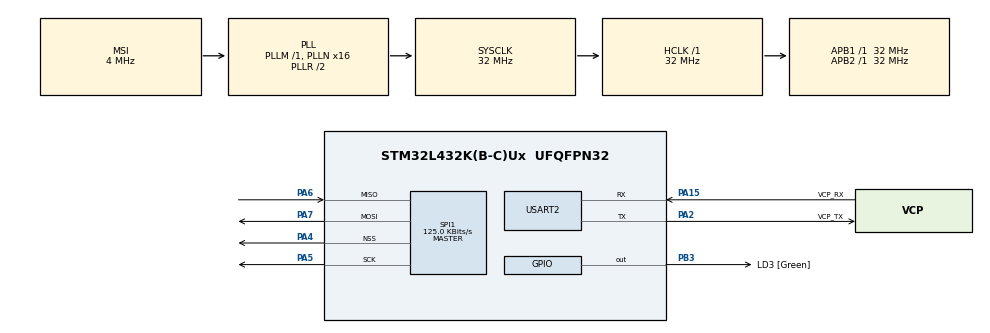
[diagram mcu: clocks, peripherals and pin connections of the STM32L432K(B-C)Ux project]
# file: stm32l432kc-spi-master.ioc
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Mcu.Family=STM32L4
Mcu.Name=STM32L432K(B-C)Ux
Mcu.Package=UFQFPN32
NVIC.PriorityGroup=NVIC_PRIORITYGROUP_4
PA0.GPIO_Label=MCO [High speed clock in]
PA0.Mode=HSE-External-Clock-Source-for-LittleOrca
PA0.Signal=RCC_CK_IN
PA13\ (JTMS-SWDIO).GPIO_Label=SWDIO
PA13\ (JTMS-SWDIO).Mode=Serial_Wire
PA13\ (JTMS-SWDIO).Signal=SYS_JTMS-SWDIO
PA14\ (JTCK-SWCLK).GPIO_Label=SWCLK
PA14\ (JTCK-SWCLK).Mode=Serial_Wire
PA14\ (JTCK-SWCLK).Signal=SYS_JTCK-SWCLK
PA15\ (JTDI).GPIO_Label=VCP_RX
PA15\ (JTDI).Mode=Asynchronous
PA15\ (JTDI).Signal=USART2_RX
PA2.GPIO_Label=VCP_TX
PA2.Mode=Asynchronous
PA2.Signal=USART2_TX
PA4.Mode=NSS_Signal_Hard_Output
PA4.Signal=SPI1_NSS
PA5.Mode=Full_Duplex_Master
PA5.Signal=SPI1_SCK
PA6.Mode=Full_Duplex_Master
PA6.Signal=SPI1_MISO
PA7.Mode=Full_Duplex_Master
PA7.Signal=SPI1_MOSI
PB3\ (JTDO-TRACESWO).GPIO_Label=LD3 [Green]
PB3\ (JTDO-TRACESWO).Signal=GPIO_Output
PC14-OSC32_IN\ (PC14).Mode=LSE-External-Oscillator
PC14-OSC32_IN\ (PC14).Signal=RCC_OSC32_IN
PC15-OSC32_OUT\ (PC15).Mode=LSE-External-Oscillator
PC15-OSC32_OUT\ (PC15).Signal=RCC_OSC32_OUT
ProjectManager.HeapSize=0x200
ProjectManager.StackSize=0x400
ProjectManager.TargetToolchain=STM32CubeIDE
RCC.AHBFreq_Value=32000000
RCC.APB1Freq_Value=32000000
RCC.APB1TimFreq_Value=32000000
RCC.APB2Freq_Value=32000000
RCC.APB2TimFreq_Value=32000000
RCC.CortexFreq_Value=32000000
RCC.HCLKFreq_Value=32000000
RCC.HSE_VALUE=8000000
RCC.HSI16_VALUE=16000000
RCC.HSI48_VALUE=48000000
RCC.HSI_VALUE=16000000
RCC.MSI_VALUE=4000000
RCC.PLLMUL=RCC_PLLMUL_4
RCC.PLLN=16
RCC.SYSCLKFreq_VALUE=32000000
RCC.SYSCLKSource=RCC_SYSCLKSOURCE_PLLCLK
RCC.VCOOutputFreq_Value=64000000
SPI1.BaudRatePrescaler=SPI_BAUDRATEPRESCALER_256
SPI1.CalculateBaudRate=125.0 KBits/s
SPI1.DataSize=SPI_DATASIZE_8BIT
SPI1.Direction=SPI_DIRECTION_2LINES
SPI1.Mode=SPI_MODE_MASTER
SPI1.NSSPMode=SPI_NSS_PULSE_ENABLE
SPI1.VirtualNSS=VM_NSSHARD
SPI1.VirtualType=VM_MASTER
USART2.VirtualMode-Asynchronous=VM_ASYNC
board=NUCLEO-L432KC

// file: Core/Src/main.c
/* USER CODE BEGIN Header */
/**
  ******************************************************************************
  * @file           : main.c
  * @brief          : Main program body
  ******************************************************************************
  * @attention
  *
  * Copyright (c) 2026 STMicroelectronics.
  * All rights reserved.
  *
  * This software is licensed under terms that can be found in the LICENSE file
  * in the root directory of this software component.
  * If no LICENSE file comes with this software, it is provided AS-IS.
  *
  ******************************************************************************
  */
/* USER CODE END Header */
#include "main.h"

/* USER CODE BEGIN Includes */
#include <string.h>
#include <stdio.h>
/* USER CODE END Includes */

SPI_HandleTypeDef hspi1;

UART_HandleTypeDef huart2;

/* USER CODE BEGIN PV */

#define BUFFER_SIZE 8
uint8_t txData[BUFFER_SIZE] = {'r', 'e', 'q', 'u', 'e', 's', 't', '!'};
uint8_t rxData[BUFFER_SIZE+1]; // Provide one additional byte for null termination
int msgCount = 0;
char msg[128];

/* USER CODE END PV */

void SystemClock_Config(void);
static void MX_GPIO_Init(void);
static void MX_SPI1_Init(void);
static void MX_USART2_UART_Init(void);

/* USER CODE BEGIN 0 */

// Called if an error occurs during transfer
void HAL_SPI_ErrorCallback(SPI_HandleTypeDef *hspi) {
    if (hspi->Instance == SPI1) {
      uint32_t err = HAL_SPI_GetError(hspi);

      if (err == HAL_SPI_ERROR_NONE) {
        snprintf(msg, sizeof(msg), "HAL_SPI_ErrorCallback: HAL_SPI_ERROR_NONE\r\n");
        HAL_UART_Transmit(&huart2, (uint8_t*)msg, strlen(msg), HAL_MAX_DELAY);

        // Note that even with HAL_SPI_ERROR_NONE, we should still reset SPI

      } else if (err & HAL_SPI_ERROR_OVR) {
        snprintf(msg, sizeof(msg), "HAL_SPI_ErrorCallback: HAL_SPI_ERROR_OVR\r\n");
        HAL_UART_Transmit(&huart2, (uint8_t*)msg, strlen(msg), HAL_MAX_DELAY);
      } else {
        // Some other error
        snprintf(msg, sizeof(msg), "HAL_SPI_ErrorCallback: %lu\r\n", err);
        HAL_UART_Transmit(&huart2, (uint8_t*)msg, strlen(msg), HAL_MAX_DELAY);
      }

      // Perform a "Hard Reset" of the SPI peripheral to clear internal FIFOs
      // This is often more reliable than just calling Init again
      __HAL_RCC_SPI1_FORCE_RESET();
      __HAL_RCC_SPI1_RELEASE_RESET();

      // Re-initialize the SPI
      HAL_SPI_Init(hspi);

      // Clear RX Buffer
      memset(rxData, 0, sizeof(rxData));
    }
}

/* USER CODE END 0 */

int main(void)
{

  /* MCU Configuration--------------------------------------------------------*/

  /* Reset of all peripherals, Initializes the Flash interface and the Systick. */
  HAL_Init();

  /* Configure the system clock */
  SystemClock_Config();

  /* Initialize all configured peripherals */
  MX_GPIO_Init();
  MX_SPI1_Init();
  MX_USART2_UART_Init();
  /* USER CODE BEGIN 2 */

  // Initialize slave as disabled
  //HAL_GPIO_WritePin(GPIOA, GPIO_PIN_4, GPIO_PIN_SET);   // Deselect Slave

  /* USER CODE END 2 */

  /* Infinite loop */
  while (1)
  {

    /* USER CODE BEGIN 3 */

    snprintf(msg, sizeof(msg), "Transmitting...\r\n");
    HAL_UART_Transmit(&huart2, (uint8_t*)msg, strlen(msg), HAL_MAX_DELAY);

//    HAL_GPIO_WritePin(GPIOA, GPIO_PIN_4, GPIO_PIN_RESET); // Select Slave

    // TransmitReceive will leverage full duplex mode and read from the salve at the same time as writing
    // This does require the TX and RX buffers are the same size
    // This expects the  slave is also using TransmitReceive call to execute simultaneous exchange of data
    HAL_SPI_TransmitReceive(&hspi1, txData, rxData, BUFFER_SIZE, 100);

    // Separate TX and RX calls will execute separate TX and RX events.
    // This requires the slave to separate the TX and RX events.
    // If the slave is using TransmitReceive, the slave will receive errors (likely overrun: HAL_SPI_ERROR_OVR )
    // The master will get garbage data on RX as the slave already transmitted the buffered data.
//    HAL_SPI_Transmit(&hspi1, (uint8_t *)txData, BUFFER_SIZE, 100);
//    memset(rxData, 0, sizeof(rxData));
//    HAL_SPI_Receive(&hspi1, (uint8_t *)rxData, BUFFER_SIZE, 100);

//    HAL_GPIO_WritePin(GPIOA, GPIO_PIN_4, GPIO_PIN_SET);   // Deselect Slave

    snprintf(msg, sizeof(msg), "Transmit complete. Message count: %d. RX Message: %s\r\n", ++msgCount, rxData);
    HAL_UART_Transmit(&huart2, (uint8_t*)msg, strlen(msg), HAL_MAX_DELAY);

    // Flash status LED
    HAL_GPIO_TogglePin(GPIOB, GPIO_PIN_3);
    HAL_Delay(1000);
    HAL_GPIO_TogglePin(GPIOB, GPIO_PIN_3);

    for (int i = 0; i<5; i++)
    {
      HAL_Delay(900);
      HAL_GPIO_TogglePin(GPIOB, GPIO_PIN_3);
      HAL_Delay(100);
      HAL_GPIO_TogglePin(GPIOB, GPIO_PIN_3);
    }
  }
  /* USER CODE END 3 */
}

void SystemClock_Config(void)
{
  RCC_OscInitTypeDef RCC_OscInitStruct = {0};
  RCC_ClkInitTypeDef RCC_ClkInitStruct = {0};

  /** Configure the main internal regulator output voltage
  */
  if (HAL_PWREx_ControlVoltageScaling(PWR_REGULATOR_VOLTAGE_SCALE1) != HAL_OK)
  {
    Error_Handler();
  }

  /** Configure LSE Drive Capability
  */
  HAL_PWR_EnableBkUpAccess();
  __HAL_RCC_LSEDRIVE_CONFIG(RCC_LSEDRIVE_LOW);

  /** Initializes the RCC Oscillators according to the specified parameters
  * in the RCC_OscInitTypeDef structure.
  */
  RCC_OscInitStruct.OscillatorType = RCC_OSCILLATORTYPE_LSE|RCC_OSCILLATORTYPE_MSI;
  RCC_OscInitStruct.LSEState = RCC_LSE_ON;
  RCC_OscInitStruct.MSIState = RCC_MSI_ON;
  RCC_OscInitStruct.MSICalibrationValue = 0;
  RCC_OscInitStruct.MSIClockRange = RCC_MSIRANGE_6;
  RCC_OscInitStruct.PLL.PLLState = RCC_PLL_ON;
  RCC_OscInitStruct.PLL.PLLSource = RCC_PLLSOURCE_MSI;
  RCC_OscInitStruct.PLL.PLLM = 1;
  RCC_OscInitStruct.PLL.PLLN = 16;
  RCC_OscInitStruct.PLL.PLLP = RCC_PLLP_DIV7;
  RCC_OscInitStruct.PLL.PLLQ = RCC_PLLQ_DIV2;
  RCC_OscInitStruct.PLL.PLLR = RCC_PLLR_DIV2;
  if (HAL_RCC_OscConfig(&RCC_OscInitStruct) != HAL_OK)
  {
    Error_Handler();
  }

  /** Initializes the CPU, AHB and APB buses clocks
  */
  RCC_ClkInitStruct.ClockType = RCC_CLOCKTYPE_HCLK|RCC_CLOCKTYPE_SYSCLK
                              |RCC_CLOCKTYPE_PCLK1|RCC_CLOCKTYPE_PCLK2;
  RCC_ClkInitStruct.SYSCLKSource = RCC_SYSCLKSOURCE_PLLCLK;
  RCC_ClkInitStruct.AHBCLKDivider = RCC_SYSCLK_DIV1;
  RCC_ClkInitStruct.APB1CLKDivider = RCC_HCLK_DIV1;
  RCC_ClkInitStruct.APB2CLKDivider = RCC_HCLK_DIV1;

  if (HAL_RCC_ClockConfig(&RCC_ClkInitStruct, FLASH_LATENCY_1) != HAL_OK)
  {
    Error_Handler();
  }

  /** Enable MSI Auto calibration
  */
  HAL_RCCEx_EnableMSIPLLMode();
}

static void MX_SPI1_Init(void)
{

  /* SPI1 parameter configuration*/
  hspi1.Instance = SPI1;
  hspi1.Init.Mode = SPI_MODE_MASTER;
  hspi1.Init.Direction = SPI_DIRECTION_2LINES;
  hspi1.Init.DataSize = SPI_DATASIZE_8BIT;
  hspi1.Init.CLKPolarity = SPI_POLARITY_LOW;
  hspi1.Init.CLKPhase = SPI_PHASE_1EDGE;
  hspi1.Init.NSS = SPI_NSS_HARD_OUTPUT;
  hspi1.Init.BaudRatePrescaler = SPI_BAUDRATEPRESCALER_256;
  hspi1.Init.FirstBit = SPI_FIRSTBIT_MSB;
  hspi1.Init.TIMode = SPI_TIMODE_DISABLE;
  hspi1.Init.CRCCalculation = SPI_CRCCALCULATION_DISABLE;
  hspi1.Init.CRCPolynomial = 7;
  hspi1.Init.CRCLength = SPI_CRC_LENGTH_DATASIZE;
  hspi1.Init.NSSPMode = SPI_NSS_PULSE_ENABLE;
  if (HAL_SPI_Init(&hspi1) != HAL_OK)
  {
    Error_Handler();
  }

}

static void MX_USART2_UART_Init(void)
{

  huart2.Instance = USART2;
  huart2.Init.BaudRate = 115200;
  huart2.Init.WordLength = UART_WORDLENGTH_8B;
  huart2.Init.StopBits = UART_STOPBITS_1;
  huart2.Init.Parity = UART_PARITY_NONE;
  huart2.Init.Mode = UART_MODE_TX_RX;
  huart2.Init.HwFlowCtl = UART_HWCONTROL_NONE;
  huart2.Init.OverSampling = UART_OVERSAMPLING_16;
  huart2.Init.OneBitSampling = UART_ONE_BIT_SAMPLE_DISABLE;
  huart2.AdvancedInit.AdvFeatureInit = UART_ADVFEATURE_NO_INIT;
  if (HAL_UART_Init(&huart2) != HAL_OK)
  {
    Error_Handler();
  }

}

static void MX_GPIO_Init(void)
{
  GPIO_InitTypeDef GPIO_InitStruct = {0};

  /* GPIO Ports Clock Enable */
  __HAL_RCC_GPIOC_CLK_ENABLE();
  __HAL_RCC_GPIOA_CLK_ENABLE();
  __HAL_RCC_GPIOB_CLK_ENABLE();

  /*Configure GPIO pin Output Level */
  HAL_GPIO_WritePin(LD3_GPIO_Port, LD3_Pin, GPIO_PIN_RESET);

  /*Configure GPIO pin : LD3_Pin */
  GPIO_InitStruct.Pin = LD3_Pin;
  GPIO_InitStruct.Mode = GPIO_MODE_OUTPUT_PP;
  GPIO_InitStruct.Pull = GPIO_NOPULL;
  GPIO_InitStruct.Speed = GPIO_SPEED_FREQ_LOW;
  HAL_GPIO_Init(LD3_GPIO_Port, &GPIO_InitStruct);

}

void Error_Handler(void)
{
  __disable_irq();
  while (1)
  {
  }
}
